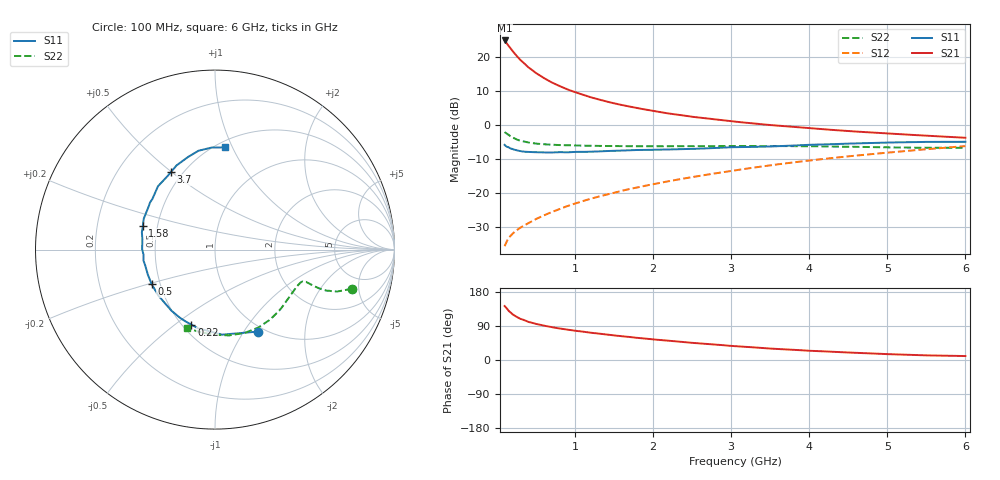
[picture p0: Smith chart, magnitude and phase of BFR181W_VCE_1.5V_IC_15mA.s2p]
! Infineon Technologies  Discrete & RF Semiconductors
! BFR181W
! VCE =  1.5 V,  IC =  15 mA
! Common Emitter S-Parameters:  Nov 2015
# GHz  S  MA  R  50
!  f  S11  S21  S12  S22
! GHz  MAG  ANG  MAG  ANG  MAG  ANG  MAG  ANG
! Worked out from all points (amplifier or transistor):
!   192 points, 100 MHz to 6 GHz, reference 50 ohm
!   highest |S21| = 25.0 dB at 100 MHz (marker M1)
!   |S21| within 3 dB of that: start of sweep to 197.7 MHz
!   unconditionally stable (mu >= 1): 362.8 MHz to 3.846 GHz
!   at 440 MHz: K = 1.09, MAG = 20.6 dB, |S12| = -28.4 dB
!   at 1.7 GHz: K = 1.32, MAG = 8.7 dB, |S12| = -18.8 dB
!   at 6 GHz: K = 0.96, MSG = 1.2 dB, |S12| = -6.1 dB
!   S11 on the Smith chart (normalised r, x): 100 MHz: 0.93, -1.15; 220 MHz: 0.55, -0.57; 500 MHz: 0.45, -0.20; 1.58 GHz: 0.41, +0.13; 3.7 GHz: 0.43, +0.50; 6 GHz: 0.55, +0.93
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0.1  0.5146 -62.6  17.73 142.5  0.0166 66.4  0.7939 -15.9
0.15  0.4756 -85.2  14.82 129.9  0.0218 61.4  0.7185 -19.0
0.2  0.4483 -102.4  12.45 120.8  0.0252 59.0  0.6618 -20.2
0.22  0.4384 -107.5  11.7 118.4  0.0264 58.6  0.6451 -20.3
0.24  0.4321 -112.7  10.97 115.7  0.0277 58.2  0.6284 -20.4
0.26  0.4268 -117.4  10.33 113.2  0.0288 58.1  0.6147 -20.4
0.3  0.418 -125.5  9.195 108.8  0.031 58.3  0.5929 -20.3
0.4  0.4065 -140.9  7.198 100.9  0.036 60.5  0.5573 -19.8
0.5  0.402 -151.6  5.891 95.3  0.0415 62.9  0.5375 -19.5
0.6  0.3993 -159.5  4.979 90.7  0.047 64.9  0.5249 -19.8
0.7  0.3978 -165.9  4.293 86.7  0.0525 66.7  0.5176 -20.2
0.9  0.3993 -176.0  3.382 80.2  0.0644 69.4  0.5076 -21.7
1.1  0.4061 176.1  2.826 74.9  0.0765 71.3  0.5015 -23.8
1.4  0.4188 166.6  2.244 67.3  0.0951 72.8  0.4953 -27.4
1.58  0.4235 161.7  2.01 63.2  0.1071 73.6  0.4931 -29.8
2.08  0.4369 149.9  1.571 53.0  0.1413 74.2  0.4913 -37.0
2.5  0.4485 141.1  1.335 45.3  0.1722 74.0  0.4935 -43.3
3.1  0.4766 130.1  1.116 35.9  0.2211 72.1  0.4955 -53.6
3.7  0.4973 119.5  0.966 28.0  0.2753 68.7  0.4937 -64.8
4.1  0.519 112.9  0.889 23.6  0.3119 66.1  0.49 -72.4
5.1  0.5597 97.9  0.746 14.9  0.4048 58.1  0.4718 -92.4
6  0.5716 84.6  0.655 10.4  0.4935 50.0  0.4657 -109.5
